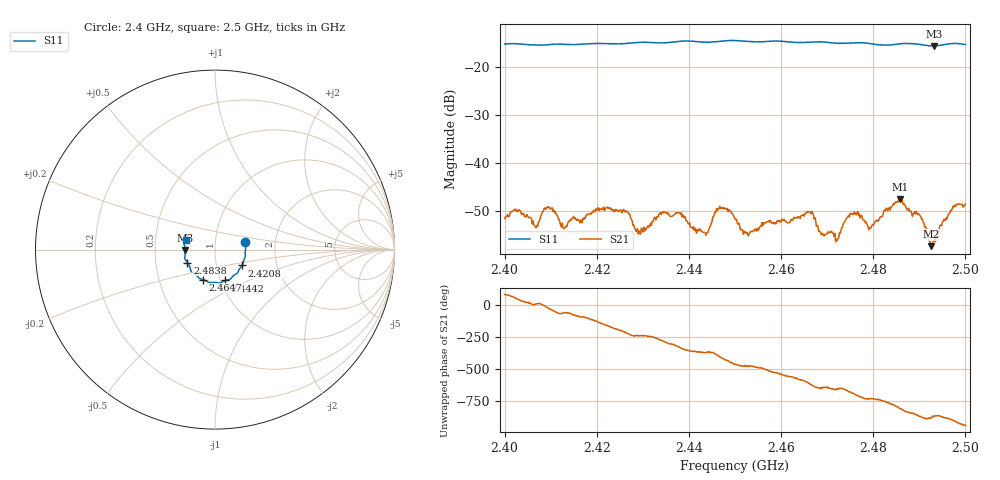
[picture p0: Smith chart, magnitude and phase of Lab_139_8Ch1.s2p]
# Hz S RI R 50
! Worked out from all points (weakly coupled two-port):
!   601 points, 2.4 GHz to 2.5 GHz, reference 50 ohm
!   highest |S21| = -47.45 dB at 2.4858 GHz (marker M1); lowest = -57.2 dB at 2.4925 GHz (marker M2)
!   lowest |S11| = -15.6 dB at 2.4932 GHz (marker M3), VSWR 1.40, Z = 35.8 - j0.0988 ohm
!   |S11| at or under -10 dB: start of sweep to end of sweep
!   S12 and S22 are empty: the file has one direction only
!   S11 on the Smith chart (normalised r, x): 2.4 GHz: 1.40, +0.12; 2.4208 GHz: 1.33, -0.24; 2.4442 GHz: 1.05, -0.37; 2.4647 GHz: 0.83, -0.29; 2.4838 GHz: 0.73, -0.11; 2.5 GHz: 0.72, +0.08
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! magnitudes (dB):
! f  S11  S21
! 2.4 GHz  -15.2  -51.5
! 2.4098 GHz  -15.3  -49.4
! 2.4167 GHz  -15.3  -52.2
! 2.4208 GHz  -15.1  -49.7
! 2.4263 GHz  -15.1  -49.9
! 2.429 GHz  -14.9  -54.7
! 2.4333 GHz  -15.0  -51.2
! 2.4442 GHz  -14.9  -54.3
! 2.4465 GHz  -14.7  -49.5
! 2.45 GHz  -14.5  -51.5
! 2.4527 GHz  -14.7  -54.4
! 2.4647 GHz  -14.9  -50.8
! 2.4667 GHz  -14.8  -50.0
! 2.472 GHz  -15.1  -55.8
! 2.475 GHz  -15.0  -50.4
! 2.4795 GHz  -15.2  -53.5
! 2.4833 GHz  -15.4  -49.5
! 2.4838 GHz  -15.4  -49.2
! 2.4858 GHz  -15.2  -47.5
! 2.4925 GHz  -15.6  -57.2
! 2.4932 GHz  -15.6  -56.1
! 2.5 GHz  -15.3  -48.5
